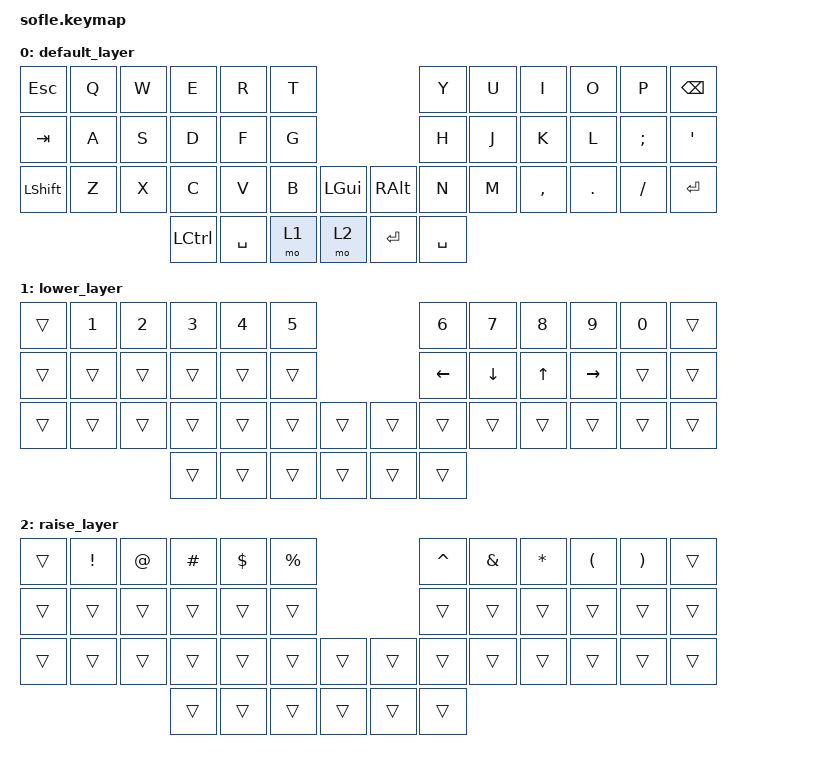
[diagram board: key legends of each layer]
/ {
    keymap {
        compatible = "zmk,keymap";

        default_layer {
            bindings = <
                &kp ESC    &kp Q      &kp W      &kp E      &kp R      &kp T                                          &kp Y      &kp U      &kp I      &kp O      &kp P      &kp BSPC
                &kp TAB    &kp A      &kp S      &kp D      &kp F      &kp G                                          &kp H      &kp J      &kp K      &kp L      &kp SEMI   &kp SQT
                &kp LSHFT  &kp Z      &kp X      &kp C      &kp V      &kp B      &kp LGUI        &kp RALT            &kp N      &kp M      &kp COMMA  &kp DOT    &kp SLASH  &kp RET
                                              &kp LCTRL   &kp SPACE   &mo 1        &mo 2            &kp ENTER   &kp SPACE
            >;
        };

        lower_layer {
            bindings = <
                &trans &kp N1 &kp N2 &kp N3 &kp N4 &kp N5                             &kp N6 &kp N7 &kp N8 &kp N9 &kp N0 &trans
                &trans &trans &trans &trans &trans &trans                             &kp LEFT &kp DOWN &kp UP &kp RIGHT &trans &trans
                &trans &trans &trans &trans &trans &trans &trans        &trans       &trans &trans &trans &trans &trans &trans
                                    &trans &trans &trans   &trans        &trans &trans
            >;
        };

        raise_layer {
            bindings = <
                &trans &kp EXCL &kp AT &kp HASH &kp DLLR &kp PRCNT                    &kp CARET &kp AMPS &kp ASTRK &kp LPAR &kp RPAR &trans
                &trans &trans   &trans &trans   &trans   &trans                       &trans    &trans   &trans    &trans   &trans   &trans
                &trans &trans   &trans &trans   &trans   &trans &trans     &trans    &trans    &trans   &trans    &trans   &trans   &trans
                                    &trans &trans &trans   &trans         &trans &trans
            >;
        };
    };
};

&left_encoder {
    bindings = <&kp C_VOL_UP &kp C_VOL_DN>;
};

&right_encoder {
    bindings = <&kp PAGE_UP &kp PAGE_DOWN>;
};
